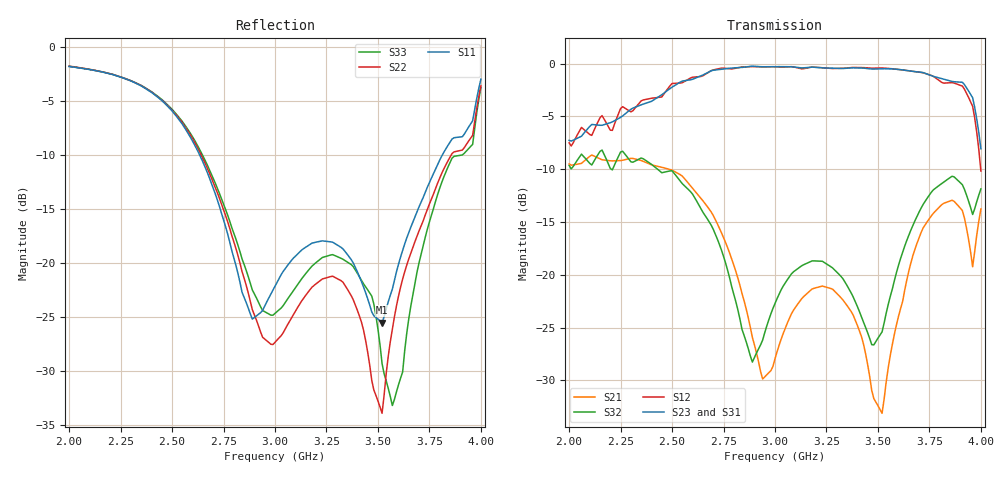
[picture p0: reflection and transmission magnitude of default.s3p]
! Created Tue Jan 23 15:54:33 2007
# hz S ri R 50
! 3 Port Network Data from SP1.SP block
! freq  reS11  imS11  reS12  imS12  reS13  imS13
!  reS21  imS21  reS22  imS22  reS23  imS23
!  reS31  imS31  reS32  imS32  reS33  imS33
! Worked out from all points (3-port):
!   201 points, 2 GHz to 4 GHz, reference 50 ohm
!   strongest paths, dB at 2 GHz, 2.5 GHz, 3 GHz, 3.5 GHz, 4 GHz:
!     S23: -7.3, -2.2, -0.3, -0.5, -8.1
!     S12: -7.5, -1.9, -0.3, -0.4, -10.2
!     S31: -7.3, -2.2, -0.3, -0.5, -8.6
!     S32: -9.6, -10.1, -22.7, -26.0, -11.9
!     S21: -9.5, -10.1, -28.0, -32.4, -13.8
!   lowest |S11| = -25.5 dB at 3.52 GHz (marker M1), VSWR 1.11, Z = 45.6 - j2.54 ohm
!   |S11| at or under -10 dB: 2.634 GHz to 3.813 GHz (1.18 GHz wide, 36.6 % of centre)
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2e9  -0.00731 -0.8086  -0.0318 0.4208  0.1114 0.3027
     0.0869 0.3238  0.1431 -0.7986  -0.0701 0.4278
     -0.0285 0.4285  0.0898 0.3177  0.0503 -0.808
2.33e9  -0.6116 -0.2791  0.4328 0.4616  0.3419 0.025
        0.3485 0.0482  -0.5593 -0.3758  0.3955 0.487
        0.4458 0.4361  0.3466 0.0447  -0.603 -0.3039
2.62e9  -0.254 0.2199  0.8532 -0.1516  0.0562 -0.2257
        0.067 -0.2341  -0.286 0.1953  0.8546 -0.0931
        0.8347 -0.2114  0.0507 -0.2172  -0.2694 0.2298
3e9  -0.0763 -0.0176  -0.1637 -0.9528  0.0279 0.0172
     0.0269 0.0296  -0.0427 0.00511  -0.0747 -0.9657
     -0.248 -0.931  0.0686 0.0254  -0.055 0.0201
3.28e9  -0.1246 0.00477  -0.9151 -0.2509  0.0101 -0.0647
        0.0265 -0.0812  -0.0868 0.00237  -0.8862 -0.3486
        -0.9332 -0.1553  -0.00453 -0.1076  -0.1013 0.041
3.47e9  -0.0594 -0.000562  -0.7986 0.5201  0.0122 -0.00248
        -0.0218 -0.018  -0.00959 0.027  -0.8464 0.418
        -0.7206 0.6062  -0.0376 0.0276  -0.0133 0.069
3.52e9  -0.0452 -0.0277  -0.6516 0.698  0.0419 0.000748
        0.0206 -0.00784  0.02 0.00312  -0.7352 0.5966
        -0.5593 0.7565  0.00852 0.0529  0.0169 0.0299
3.83e9  -0.2309 -0.2454  0.7064 0.3972  -0.16 -0.1815
        -0.1355 -0.1733  -0.0295 -0.2827  0.6361 0.5478
        0.7567 0.3089  -0.1284 -0.2484  -0.0525 -0.2583
3.96e9  -0.2207 -0.3964  0.3167 -0.5426  0.2068 -0.00431
        0.1068 -0.0223  0.0534 -0.3852  0.5434 -0.4253
        0.3157 -0.5744  0.1674 0.0963  0.0399 -0.3509
4e9  -0.6314 -0.317  0.249 -0.1847  -0.1318 -0.2164
     -0.1219 -0.1647  -0.3433 -0.5613  0.3275 -0.222
     0.2095 -0.3074  -0.0897 -0.2389  -0.4291 -0.4817
